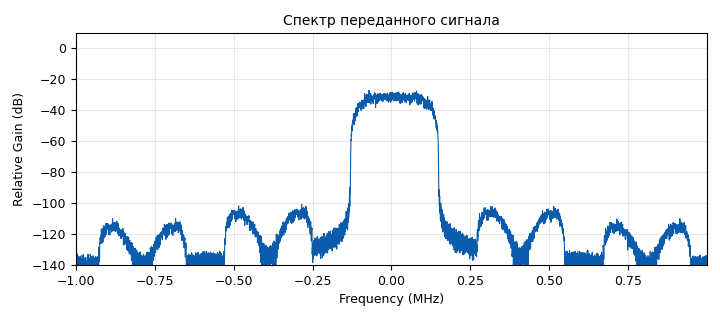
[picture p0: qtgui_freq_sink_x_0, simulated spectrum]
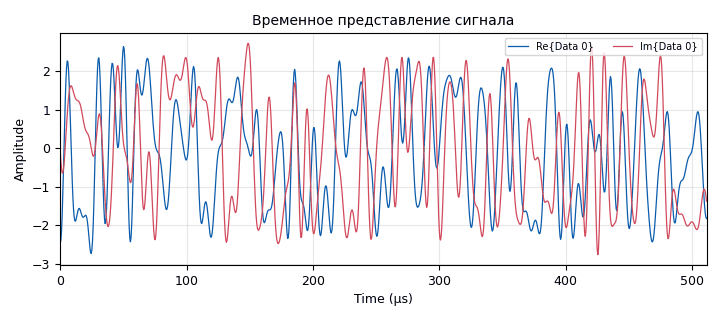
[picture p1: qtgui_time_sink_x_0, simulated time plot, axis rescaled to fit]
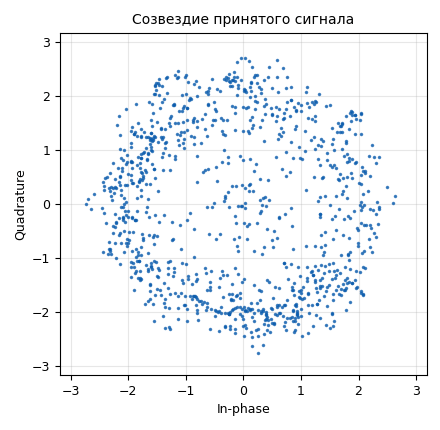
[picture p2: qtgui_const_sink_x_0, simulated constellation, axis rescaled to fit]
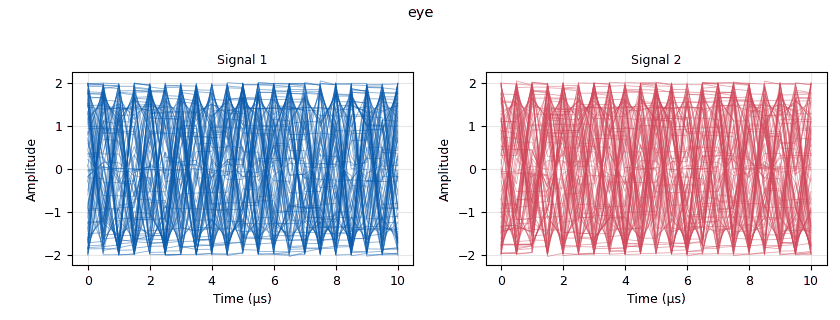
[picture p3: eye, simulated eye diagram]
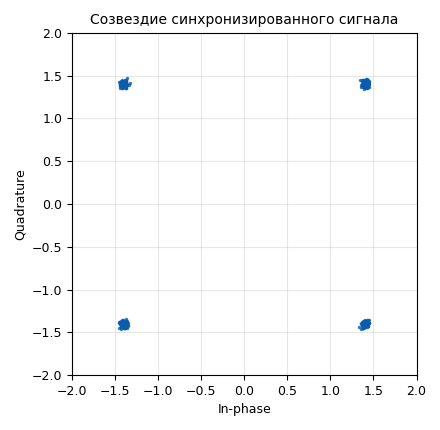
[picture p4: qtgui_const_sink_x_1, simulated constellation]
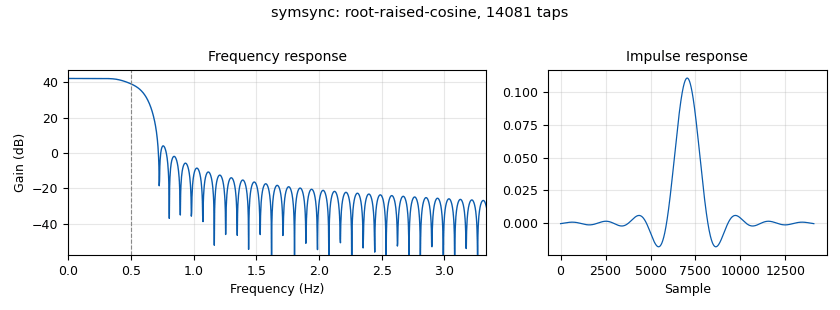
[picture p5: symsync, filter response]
options:
  parameters:
    author: Lab5
    generate_options: qt_gui
    id: lab5_2_7_7b_qpsk_fll
    output_language: python
    title: 'ЛР5 п.2.7.7(б)  QPSK: FLL Band-Edge + Symbol Sync + Костас'
  states: {}

blocks:
- name: samp_rate
  id: variable
  parameters:
    value: 2e6
  states: {}
- name: sps
  id: variable
  parameters:
    value: '10'
  states: {}
- name: alpha
  id: variable
  parameters:
    value: '0.4'
  states: {}
- name: Rs
  id: variable
  parameters:
    value: samp_rate/sps
  states: {}
- name: psk
  id: variable_constellation
  parameters:
    precision: '8'
    type: qpsk
  states: {}
- name: N
  id: variable
  parameters:
    value: '1'
  states: {}
- name: src
  id: analog_random_uniform_source_x
  parameters:
    seed: '0'
    type: byte
    minimum: '0'
    maximum: '2'
  states: {}
- name: pack
  id: blocks_unpacked_to_packed_xx
  parameters:
    bits_per_chunk: '1'
    type: byte
    endianness: gr.GR_MSB_FIRST
  states: {}
- name: mod
  id: digital_constellation_modulator
  parameters:
    differential: 'False'
    samples_per_symbol: sps
    excess_bw: alpha
    constellation: psk
  states: {}
- name: blocks_throttle2_0
  id: blocks_throttle2
  parameters:
    samples_per_second: samp_rate
    type: complex
  states: {}
- name: noise
  id: variable_qtgui_range
  parameters:
    value: '0'
    start: '0'
    stop: '1'
    step: '0.001'
    label: '"Noise Voltage, В"'
  states: {}
- name: channel
  id: channels_channel_model
  parameters:
    noise_voltage: noise
    freq_offset: N*10e3/samp_rate
    epsilon: '1.0'
    taps: '1.0'
    seed: '0'
  states: {}
- name: vsink
  id: virtual_sink
  parameters:
    stream_id: psk
  states: {}
- name: vsrc
  id: virtual_source
  parameters:
    stream_id: psk
  states: {}
- name: qtgui_freq_sink_x_0
  id: qtgui_freq_sink_x
  parameters:
    type: complex
    name: '"Спектр переданного сигнала"'
    fftsize: '8192'
    fc: '0'
    bw: samp_rate
    grid: 'True'
    average: '0.1'
  states: {}
- name: qtgui_time_sink_x_0
  id: qtgui_time_sink_x
  parameters:
    type: complex
    name: '"Временное представление сигнала"'
    size: '1024'
    srate: samp_rate
    grid: 'True'
    ymin: '-1.5'
    ymax: '1.5'
    tr_slope: qtgui.TRIG_MODE_POS
  states: {}
- name: qtgui_const_sink_x_0
  id: qtgui_const_sink_x
  parameters:
    type: complex
    name: '"Созвездие принятого сигнала"'
    size: '1024'
    grid: 'True'
    tr_slope: qtgui.TRIG_MODE_POS
  states: {}
- name: fll
  id: digital_fll_band_edge_cc
  parameters:
    type: cc
    samps_per_sym: sps
    rolloff: alpha
    filter_size: '44'
    w: '0.00628'
  states: {}
- name: symsync
  id: digital_symbol_sync_xx
  parameters:
    constellation: psk
    sps: sps
    ted_gain: '1.0'
    loop_bw: '0.045'
    damping: '1'
    max_dev: '1.5'
    osps: '1'
    nfilters: '128'
    pfb_mf_taps: firdes.root_raised_cosine(128, 128*sps, 1.0, alpha, 11*sps*128)
    type: cc
    ted_type: digital.TED_GARDNER
    resamp_type: digital.IR_PFB_MF
  states: {}
- name: eye
  id: qtgui_eye_sink_x
  parameters:
    type: complex
    size: '2048'
    samp_per_symbol: sps
    srate: samp_rate
    grid: 'True'
    autoscale: 'True'
    ymin: '-2'
    ymax: '2'
    tr_slope: qtgui.TRIG_MODE_POS
  states: {}
- name: costas
  id: digital_costas_loop_cc
  parameters:
    w: '0.0628'
    order: '4'
  states: {}
- name: qtgui_const_sink_x_1
  id: qtgui_const_sink_x
  parameters:
    type: complex
    name: '"Созвездие синхронизированного сигнала"'
    size: '1024'
    grid: 'True'
    tr_slope: qtgui.TRIG_MODE_POS
  states: {}

connections:
- [src, '0', pack, '0']
- [pack, '0', mod, '0']
- [mod, '0', blocks_throttle2_0, '0']
- [blocks_throttle2_0, '0', channel, '0']
- [channel, '0', vsink, '0']
- [channel, '0', qtgui_freq_sink_x_0, '0']
- [channel, '0', qtgui_time_sink_x_0, '0']
- [vsrc, '0', qtgui_const_sink_x_0, '0']
- [vsrc, '0', fll, '0']
- [fll, '0', symsync, '0']
- [symsync, '0', eye, '0']
- [symsync, '0', costas, '0']
- [costas, '0', qtgui_const_sink_x_1, '0']

metadata:
  file_format: 1
  grc_version: 3.10.12.0
